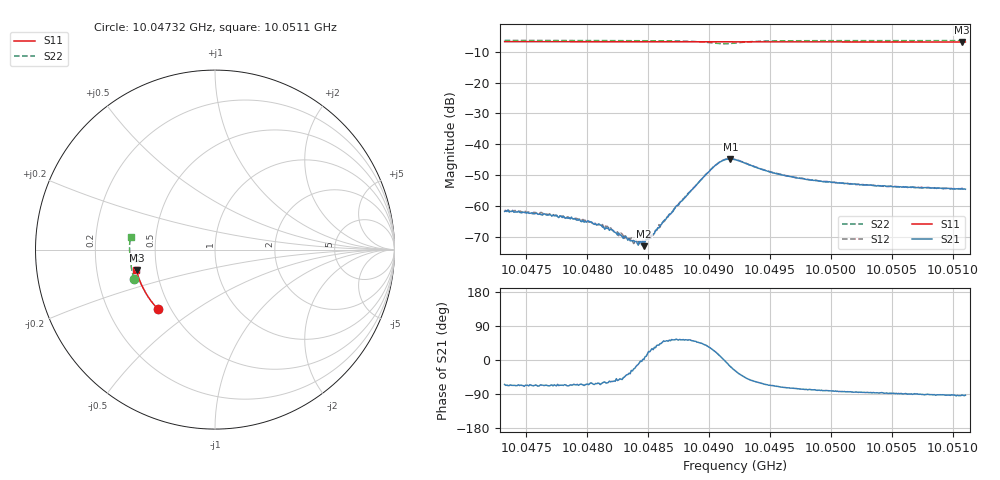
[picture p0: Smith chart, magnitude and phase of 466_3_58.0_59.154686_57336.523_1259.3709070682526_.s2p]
#  HZ  S  RI  R  50.00
! Rohde & Schwarz Vector Network Analyzer
! Rohde-Schwarz,ZNB20-2Port,1311601062101988,3.16
! Created: UTC 3/21/2024, 1:11:11 AM
! freq[Hz]  re:S11  im:S11  re:S21  im:S21  re:S12  im:S12  re:S22  im:S22
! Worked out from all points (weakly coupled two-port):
!   401 points, 10.04732 GHz to 10.0511 GHz, reference 50 ohm
!   highest |S21| = -44.69 dB at 10.04917 GHz (marker M1); lowest = -72.9 dB at 10.04846 GHz (marker M2)
!   lowest |S11| = -6.9 dB at 10.05108 GHz (marker M3), VSWR 2.65, Z = 19.1 - j5.54 ohm
!   |S11| at or under -10 dB: nowhere
!   |S22| runs from -7.5 to -6.4 dB; largest |S21 - S12| = 0.00041
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1.004732e10  -0.3201 -0.3287  0.000355 -0.000745  0.00039 -0.000765  -0.4513 -0.1611
1.0047737e10  -0.3386 -0.3082  0.000276 -0.000648  0.000325 -0.00064  -0.4594 -0.1336
1.0047954e10  -0.3478 -0.2971  0.000241 -0.000508  0.000283 -0.000523  -0.4628 -0.1186
1.004802e10  -0.3504 -0.2937  0.000259 -0.000488  0.000284 -0.000487  -0.4638 -0.114
1.0048143e10  -0.3555 -0.2874  0.000224 -0.00036  0.000265 -0.000422  -0.4654 -0.1052
1.0048191e10  -0.3573 -0.2848  0.000228 -0.000359  0.000258 -0.000366  -0.4659 -0.1017
1.0048351e10  -0.3635 -0.2763  0.000223 -0.000163  0.000246 -0.000147  -0.4675 -0.0895
1.0048389e10  -0.365 -0.2742  0.000247 -9.87e-05  0.000251 -6.74e-05  -0.4676 -0.0865
1.0048427e10  -0.3666 -0.2722  0.000268 -3.45e-05  0.000246 -2.65e-05  -0.4679 -0.0836
1.0048465e10  -0.3678 -0.2702  0.000226 7.7e-06  0.00026 7.33e-05  -0.468 -0.0804
1.0048541e10  -0.3706 -0.2661  0.000317 0.000163  0.000289 0.000182  -0.4681 -0.074
1.0048588e10  -0.3724 -0.2633  0.000346 0.000283  0.000366 0.000346  -0.4681 -0.0698
1.0048768e10  -0.3787 -0.2535  0.000716 0.000958  0.000633 0.00104  -0.4651 -0.0524
1.0049033e10  -0.3876 -0.2384  0.00381 0.00189  0.0037 0.00214  -0.4355 -0.0307
1.0049108e10  -0.3897 -0.2342  0.00543 0.000447  0.00544 0.000768  -0.4222 -0.0421
1.0049174e10  -0.3918 -0.2306  0.00557 -0.00173  0.00569 -0.00137  -0.4242 -0.0589
1.0049212e10  -0.393 -0.2287  0.00502 -0.00267  0.0052 -0.0024  -0.431 -0.0649
1.0049524e10  -0.403 -0.2106  0.00132 -0.0032  0.00152 -0.00315  -0.4684 -0.0447
1.0049846e10  -0.4118 -0.1913  0.000523 -0.0026  0.000683 -0.00258  -0.4749 -0.0164
1.005048e10  -0.4266 -0.1526  8.01e-05 -0.00208  0.000176 -0.00212  -0.4753 0.0302
1.0051076e10  -0.4372 -0.1151  -8.51e-05 -0.00192  -1.39e-05 -0.00195  -0.4708 0.0709
1.0051104e10  -0.4378 -0.1133  -0.000101 -0.00188  8.78e-06 -0.00189  -0.4705 0.0727
